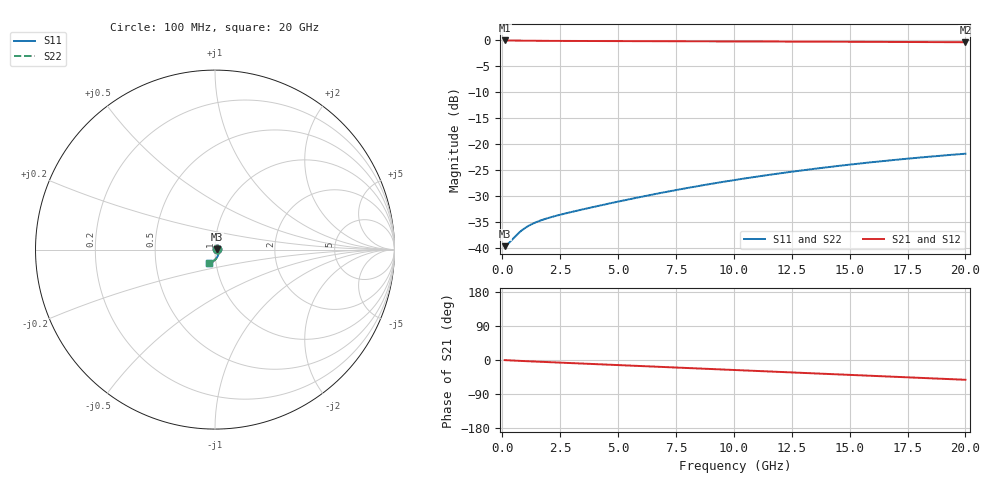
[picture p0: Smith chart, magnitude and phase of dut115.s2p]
! Touchstone file exported from HFSS 2026.1.0
!  File:  C:/ffzhzh/LocalFiles/Ansys_Project_Files/temp_train_TMRDL_115_1782982533_41620.aedt
!  Generated:  04:57:22 PM Jul  2, 2026
!  Design:  TMRDL
!  Project:  temp_train_TMRDL_115_1782982533_41620
! Variables:
!  h_bsmrdl = 2um
!  h_ox = 20um
!  h_rdl = 5um
!  h_sub = 80um
!  h_tmrdl = 2.02um
!  h_tsv = 80um
!  h_via = 3um
!  l_bsmrdl = 300um
!  l_sub = 1325.15um
!  l_tmrdl = 925.15um
!  m_sub = 200um
!  pitch = 17.36um
!  r_tsv = 6um
!  s_tmrdl = 10um
!  w_bsmrdl = 18um
!  w_sub = 500um
!  w_tmrdl = 15.64um
!  x_tsv_center1 = 932.97um
!  x_tsv_center2 = 1250.97um
!  x_tsv_center3 = 2191.76um
!  x_tsv_center4 = 2509.76um
!  x_tsv_center5 = 3450.55um
!  x_tsv_center6 = 3768.55um
# GHz S MA R 50.000000
! Terminal data exported
! Port[1] = TM_RDL1_1_T1
! Port[2] = TM_RDL1_1_T2
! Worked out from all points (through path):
!   200 points, 100 MHz to 20 GHz, reference 50 ohm
!   highest |S21| = -0.09 dB at 100 MHz (marker M1); lowest = -0.4 dB at 20 GHz (marker M2)
!   group delay of S21, straight-line fit = 7.21 ps
!   lowest |S11| = -39.6 dB at 100 MHz (marker M3), VSWR 1.02, Z = 51.1 + j0.0665 ohm
!   |S11| at or under -10 dB: start of sweep to end of sweep
!   |S22| runs from -39.6 to -21.8 dB; largest |S21 - S12| = 5e-15
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0.1  0.01052 3.6  0.9895 -0.3  0.9895 -0.3  0.01052 3.6
! Gamma 0 0 0 0
! Port Impedance 50 0 50 0
0.2  0.01086 6.6  0.9892 -0.6  0.9892 -0.6  0.01086 6.6
0.3  0.01136 8.9  0.9888 -1.0  0.9888 -1.0  0.01136 8.9
0.6  0.01335 10.6  0.987 -1.9  0.987 -1.9  0.01335 10.6
0.8  0.01466 8.8  0.9856 -2.4  0.9856 -2.4  0.01466 8.8
1  0.01581 6.0  0.9844 -3.0  0.9844 -3.0  0.01581 6.0
1.3  0.01723 1.1  0.9829 -3.8  0.9829 -3.8  0.01723 1.1
1.5  0.01802 -2.2  0.982 -4.3  0.982 -4.3  0.01801 -2.2
1.7  0.01871 -5.5  0.9813 -4.8  0.9813 -4.8  0.01871 -5.5
2.1  0.01995 -11.7  0.9802 -5.9  0.9802 -5.9  0.01994 -11.7
2.7  0.02161 -20.1  0.9789 -7.4  0.9789 -7.4  0.0216 -20.1
3.5  0.02379 -29.9  0.9776 -9.5  0.9776 -9.5  0.02378 -29.9
5.2  0.02877 -46.6  0.9754 -13.9  0.9754 -13.9  0.02875 -46.6
6.8  0.03395 -58.7  0.9735 -18.1  0.9735 -18.1  0.03391 -58.8
8.4  0.03947 -68.5  0.9715 -22.3  0.9715 -22.3  0.03943 -68.6
10.1  0.0456 -77.2  0.9691 -26.7  0.9691 -26.7  0.04554 -77.3
11.7  0.05149 -84.3  0.9667 -30.9  0.9667 -30.9  0.05142 -84.4
13.4  0.05781 -91.1  0.9639 -35.3  0.9639 -35.3  0.05772 -91.2
15  0.06371 -97.0  0.9611 -39.4  0.9611 -39.4  0.06361 -97.1
16.7  0.06986 -102.9  0.958 -43.8  0.958 -43.8  0.06974 -103.0
18.4  0.07578 -108.5  0.9548 -48.1  0.9548 -48.1  0.07566 -108.7
20  0.08108 -113.6  0.9517 -52.2  0.9517 -52.2  0.08093 -113.8
